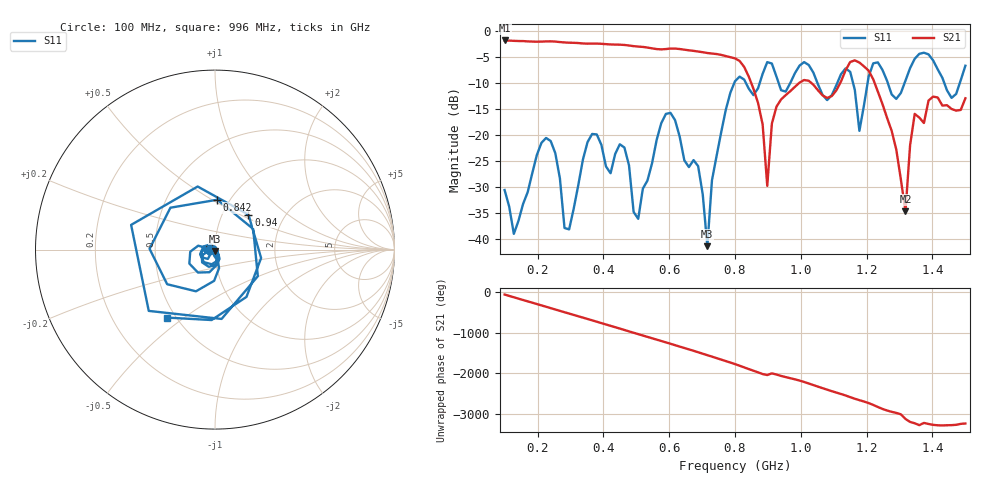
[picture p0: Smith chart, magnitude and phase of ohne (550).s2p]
! NanoVNA-App
! Date: 2025-09-25 14:25:05
! Start: 100MHz Stop: 1,5GHz Points: 101
! S-Parameter data: F S11 S21 S12 S22
# Hz S RI R 50
!  Frequency  S11_Real  S11_Imag  S21_Real  S21_Imag  S12_Real  S12_Imag  S22_Real  S22_Imag
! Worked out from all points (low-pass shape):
!   101 points, 100 MHz to 1.5 GHz, reference 50 ohm
!   highest |S21| = -1.79 dB at 100 MHz (marker M1); lowest = -34.8 dB at 1.318 GHz (marker M2)
!   |S21| within 3 dB of the highest: start of sweep to 771.2 MHz
!   lowest |S11| = -41.5 dB at 716 MHz (marker M3), VSWR 1.02, Z = 49.8 - j0.827 ohm
!   |S11| at or under -10 dB: start of sweep to 797.8 MHz; 833.2 MHz to 875.1 MHz (41.95 MHz wide, 4.91 % of centre); 1.05 GHz to 1.111 GHz (60.27 MHz wide, 5.58 % of centre) (the widest 3 of 7)
!   S12 and S22 are empty: the file has one direction only
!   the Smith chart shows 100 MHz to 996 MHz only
!   S11 on the Smith chart (normalised r, x): 100 MHz: 0.94, -0.01; 842 MHz: 0.88, +0.53; 940 MHz: 1.32, +0.56; 996 MHz: 0.45, -0.43
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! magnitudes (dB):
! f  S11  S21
! 100 MHz  -30.6  -1.8
! 128 MHz  -39.1  -1.9
! 226 MHz  -20.6  -2.0
! 296 MHz  -38.2  -2.2
! 338 MHz  -24.7  -2.4
! 464 MHz  -22.4  -2.7
! 506 MHz  -36.2  -3.0
! 576 MHz  -17.7  -3.5
! 688 MHz  -26.0  -3.9
! 716 MHz  -41.5  -4.2
! 800 MHz  -9.7  -5.2
! 842 MHz  -11.1  -8.8
! 898 MHz  -6.0  -29.8
! 940 MHz  -11.4  -13.2
! 996 MHz  -6.6  -9.9
! 1.038 GHz  -8.0  -10.3
! 1.178 GHz  -19.2  -6.1
! 1.22 GHz  -6.2  -9.3
! 1.276 GHz  -12.2  -19.2
! 1.318 GHz  -9.5  -34.8
! 1.346 GHz  -5.3  -16.0
! 1.5 GHz  -6.7  -12.9
